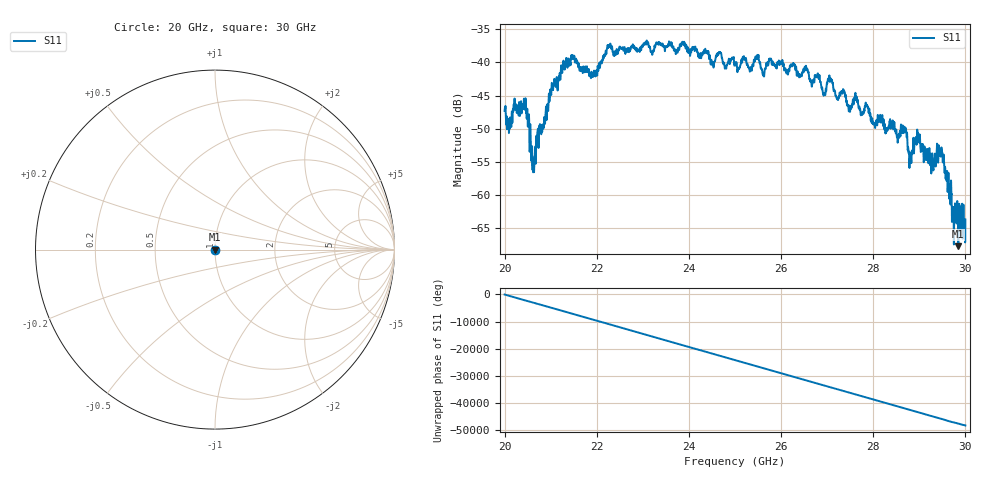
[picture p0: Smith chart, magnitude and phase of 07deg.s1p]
#  HZ  S  RI  R  50.00
! Rohde & Schwarz ZVA40 4Ports - Version 3.90 - 1145.1110k42 SN: 100403
! Date: 2023-10-03 12:42:15
! Measurement: S12
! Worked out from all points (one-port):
!   5001 points, 20 GHz to 30 GHz, reference 50 ohm
!   lowest |S11| = -67.7 dB at 29.85 GHz (marker M1), VSWR 1.00, Z = 50 + j0.00562 ohm
!   |S11| at or under -10 dB: start of sweep to end of sweep
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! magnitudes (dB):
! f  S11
! 20 GHz  -47.3
! 20.1 GHz  -50.1
! 20.23 GHz  -46.7
! 20.42 GHz  -45.6
! 20.63 GHz  -54.7
! 21.03 GHz  -43.5
! 21.25 GHz  -41.6
! 21.49 GHz  -39.2
! 21.89 GHz  -41.4
! 22.26 GHz  -37.5
! 22.5 GHz  -37.9
! 23.75 GHz  -38.5
! 25 GHz  -40.1
! 26.25 GHz  -40.4
! 26.93 GHz  -44.7
! 27.06 GHz  -42.7
! 27.5 GHz  -47.1
! 27.62 GHz  -45.5
! 28.01 GHz  -49.1
! 28.65 GHz  -50.5
! 28.75 GHz  -53.2
! 28.81 GHz  -53.6
! 28.97 GHz  -51.1
! 29.28 GHz  -53.8
! 29.47 GHz  -54.2
! 29.72 GHz  -61.8
! 29.85 GHz  -67.7
! 30 GHz  -63.7
